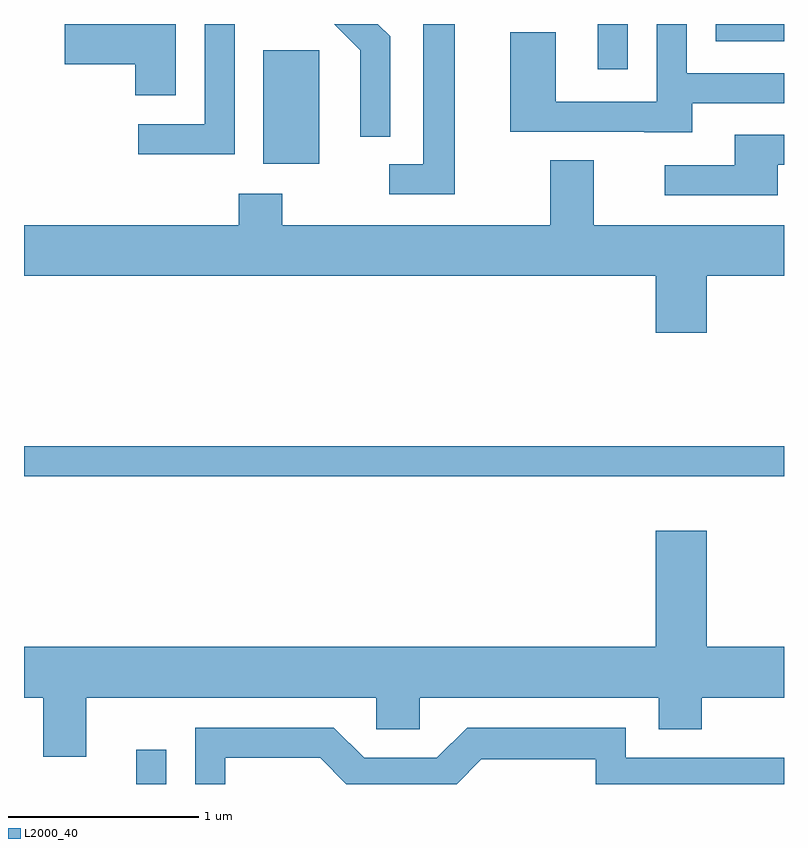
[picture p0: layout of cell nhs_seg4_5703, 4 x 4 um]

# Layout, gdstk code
import gdstk
lib = gdstk.Library(unit=1e-6, precision=1e-09)
def R(c, l, rs):  # rectangles x0, y0, x1, y1
    for r in rs: c.add(gdstk.rectangle(r[:2], r[2:], *l))
def P(c, l, *ps):  # polygons
    for p in ps: c.add(gdstk.Polygon(p, *l))
L2000_40 = (2000, 40)

nhs_seg4_5703 = lib.new_cell('nhs_seg4_5703')
R(nhs_seg4_5703, L2000_40, [(352.201,1371.982,352.359,1372.163), (351.611,1373.601,355.611,1373.759), (352.871,1375.246,353.164,1375.844), (354.631,1375.743,354.789,1375.982), (355.251,1375.891,355.611,1375.982)])
P(nhs_seg4_5703, L2000_40, [(353.879,1375.982),(353.711,1375.982),(353.711,1375.244),(353.533,1375.244),(353.533,1375.086),(353.879,1375.086)],
  [(352.409,1375.982),(351.826,1375.982),(351.826,1375.771),(352.196,1375.771),(352.196,1375.606),(352.409,1375.606)],
  [(355.129,1375.566),(355.611,1375.566),(355.611,1375.724),(355.099,1375.724),(355.099,1375.982),(354.941,1375.982),(354.941,1375.574),(354.409,1375.574),(354.409,1375.939),(354.171,1375.939),(354.171,1375.416),(354.875,1375.416),(354.875,1375.411),(355.129,1375.411)],
  [(352.719,1375.982),(352.561,1375.982),(352.561,1375.454),(352.213,1375.454),(352.213,1375.296),(352.719,1375.296)],
  [(353.539,1375.917),(353.474,1375.982),(353.243,1375.982),(353.381,1375.844),(353.381,1375.388),(353.539,1375.388)],
  [(355.579,1375.241),(355.611,1375.241),(355.611,1375.399),(355.351,1375.399),(355.351,1375.239),(354.983,1375.239),(354.983,1375.081),(355.579,1375.081)],
  [(355.204,1374.656),(355.611,1374.656),(355.611,1374.924),(354.609,1374.924),(354.609,1375.264),(354.381,1375.264),(354.381,1374.924),(352.969,1374.924),(352.969,1375.089),(352.741,1375.089),(352.741,1374.924),(351.611,1374.924),(351.611,1374.656),(354.936,1374.656),(354.936,1374.356),(355.204,1374.356)],
  [(351.611,1372.436),(351.711,1372.436),(351.711,1372.126),(351.939,1372.126),(351.939,1372.436),(353.466,1372.436),(353.466,1372.271),(353.694,1372.271),(353.694,1372.436),(354.951,1372.436),(354.951,1372.271),(355.179,1372.271),(355.179,1372.436),(355.611,1372.436),(355.611,1372.704),(355.204,1372.704),(355.204,1373.314),(354.936,1373.314),(354.936,1372.704),(351.611,1372.704)],
  [(352.669,1372.121),(353.169,1372.121),(353.308,1371.982),(353.888,1371.982),(354.017,1372.111),(354.621,1372.111),(354.621,1371.982),(355.611,1371.982),(355.611,1372.119),(354.779,1372.119),(354.779,1372.279),(353.944,1372.279),(353.784,1372.119),(353.402,1372.119),(353.242,1372.279),(352.511,1372.279),(352.511,1371.982),(352.669,1371.982)])

lib.write_gds('nhs_seg4_5703.gds')
